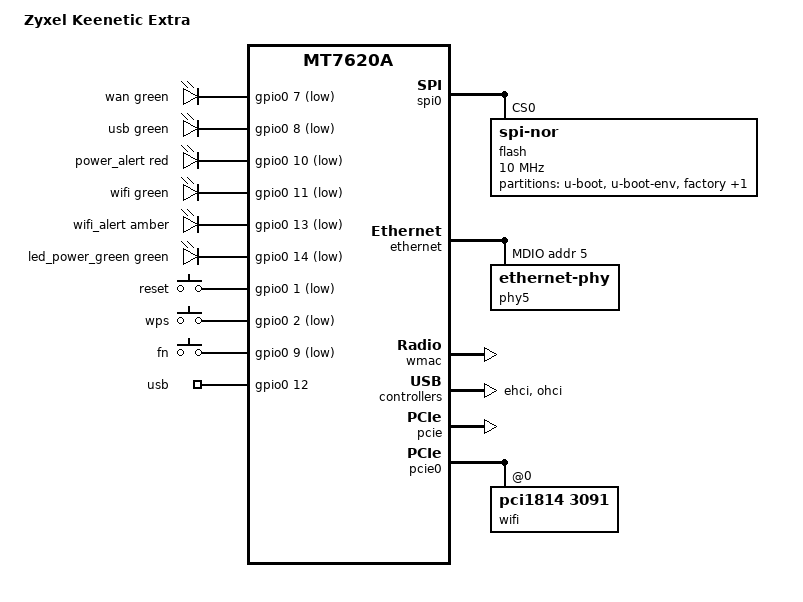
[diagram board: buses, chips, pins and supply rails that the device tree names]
// SPDX-License-Identifier: GPL-2.0-or-later OR MIT

#include "mt7620a.dtsi"

#include <dt-bindings/gpio/gpio.h>
#include <dt-bindings/input/input.h>
#include <dt-bindings/leds/common.h>

/ {
	compatible = "zyxel,keenetic-extra", "ralink,mt7620a-soc";
	model = "Zyxel Keenetic Extra";

	aliases {
		led-boot = &led_power_green;
		led-failsafe = &led_power_green;
		led-running = &led_power_green;
		led-upgrade = &led_power_green;
	};

	leds {
		compatible = "gpio-leds";

		wan {
			function = LED_FUNCTION_WAN;
			color = <LED_COLOR_ID_GREEN>;
			gpios = <&gpio0 7 GPIO_ACTIVE_LOW>;
		};

		usb {
			function = LED_FUNCTION_USB;
			color = <LED_COLOR_ID_GREEN>;
			gpios = <&gpio0 8 GPIO_ACTIVE_LOW>;
			trigger-sources = <&ohci_port1>, <&ehci_port1>;
			linux,default-trigger = "usbport";
		};

		power_alert {
			function = LED_FUNCTION_POWER;
			color = <LED_COLOR_ID_RED>;
			gpios = <&gpio0 10 GPIO_ACTIVE_LOW>;
		};

		wifi {
			function = LED_FUNCTION_WLAN;
			color = <LED_COLOR_ID_GREEN>;
			gpios = <&gpio0 11 GPIO_ACTIVE_LOW>;
			linux,default-trigger = "network";
			family = "wlan";
			mode = "link tx rx";
		};

		wifi_alert {
			function = LED_FUNCTION_WLAN;
			color = <LED_COLOR_ID_AMBER>;
			gpios = <&gpio0 13 GPIO_ACTIVE_LOW>;
		};

		led_power_green: power {
			function = LED_FUNCTION_POWER;
			color = <LED_COLOR_ID_GREEN>;
			gpios = <&gpio0 14 GPIO_ACTIVE_LOW>;
		};
	};

	keys {
		compatible = "gpio-keys";

		reset {
			label = "reset";
			gpios = <&gpio0 1 GPIO_ACTIVE_LOW>;
			linux,code = <KEY_RESTART>;
		};

		wps {
			label = "wps";
			gpios = <&gpio0 2 GPIO_ACTIVE_LOW>;
			linux,code = <KEY_WPS_BUTTON>;
		};

		fn {
			label = "fn";
			gpios = <&gpio0 9 GPIO_ACTIVE_LOW>;
			linux,code = <BTN_0>;
		};
	};

	gpio_export {
		compatible = "gpio-export";
		#size-cells = <0>;

		usb_power {
			gpio-export,name = "usb";
			gpio-export,output = <1>;
			gpios = <&gpio0 12 GPIO_ACTIVE_HIGH>;
		};
	};

	rtl8367rb {
		compatible = "realtek,rtl8367b";
		realtek,extif = <6 1 4 1 1 1 1 1 1 2>;
		realtek,led-link-activity;
		mii-bus = <&mdio0>;
	};
};

&spi0 {
	status = "okay";

	flash@0 {
		compatible = "jedec,spi-nor";
		reg = <0>;
		spi-max-frequency = <10000000>;

		partitions {
			compatible = "fixed-partitions";
			#address-cells = <1>;
			#size-cells = <1>;

			partition@0 {
				label = "u-boot";
				reg = <0x0 0x30000>;
				read-only;
			};

			partition@30000 {
				label = "u-boot-env";
				reg = <0x30000 0x10000>;
				read-only;
			};

			partition@40000 {
				label = "factory";
				reg = <0x40000 0x10000>;
				read-only;

				nvmem-layout {
					compatible = "fixed-layout";
					#address-cells = <1>;
					#size-cells = <1>;

					eeprom_factory_0: eeprom@0 {
						reg = <0x0 0x200>;
					};

					eeprom_factory_8000: eeprom@8000 {
						reg = <0x8000 0x200>;
					};

					macaddr_factory_4: macaddr@4 {
						reg = <0x4 0x6>;
					};
				};
			};

			partition@50000 {
				compatible = "denx,uimage";
				label = "firmware";
				reg = <0x50000 0xda0000>;
			};
		};
	};
};

&state_default {
	gpio {
		groups = "i2c", "uartf";
		function = "gpio";
	};
};

&ethernet {
	pinctrl-names = "default";
	pinctrl-0 = <&rgmii1_pins &mdio_pins>;

	nvmem-cells = <&macaddr_factory_4>;
	nvmem-cell-names = "mac-address";

	port@4 {
		status = "disabled";
	};

	port@5 {
		status = "okay";
		mediatek,fixed-link = <1000 1 1 1>;
		phy-mode = "rgmii";
		phy-handle = <&phy5>;
	};

	mdio0: mdio-bus {
		status = "okay";

		phy5: ethernet-phy@5 {
			reg = <5>;
			phy-mode = "rgmii";
		};
	};
};

&gsw {
	mediatek,ephy-base = /bits/ 8 <8>;
};

&wmac {
	nvmem-cells = <&eeprom_factory_0>;
	nvmem-cell-names = "eeprom";
};

&ehci {
	status = "okay";
};

&ohci {
	status = "okay";
};

&pcie {
	status = "okay";
};

&pcie0 {
	wifi@0,0 {
		compatible = "pci1814,3091";
		reg = <0x0000 0 0 0 0>;
		nvmem-cells = <&eeprom_factory_8000>;
		nvmem-cell-names = "eeprom";
		ieee80211-freq-limit = <5000000 6000000>;
	};
};
